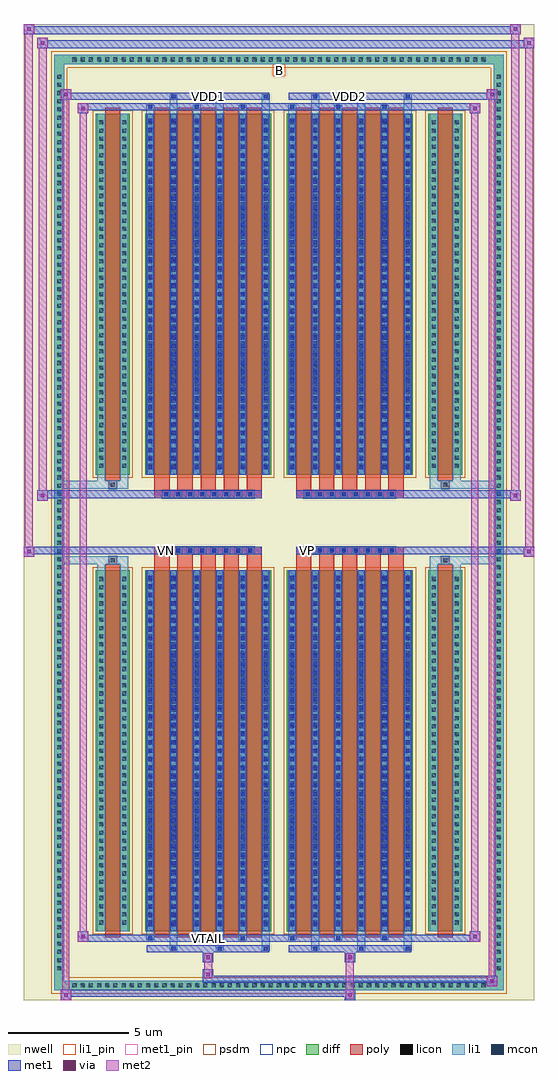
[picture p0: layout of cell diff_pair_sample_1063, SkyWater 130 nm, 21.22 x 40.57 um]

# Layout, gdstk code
import gdstk
lib = gdstk.Library(unit=1e-6, precision=5e-09)
def R(c, l, rs):  # rectangles x0, y0, x1, y1
    for r in rs: c.add(gdstk.rectangle(r[:2], r[2:], *l))
def A(c, l, x, y, w, h, nx, ny, dx, dy):  # array of equal rectangles
    R(c, l, [(x+i*dx, y+j*dy, x+i*dx+w, y+j*dy+h) for i in range(nx) for j in range(ny)])
def P(c, l, *ps):  # polygons
    for p in ps: c.add(gdstk.Polygon(p, *l))
nwell = (64, 20)
diff = (65, 20)
poly = (66, 20)
licon = (66, 44)
li1_pin = (67, 16)
li1 = (67, 20)
mcon = (67, 44)
met1_pin = (68, 16)
met1 = (68, 20)
via = (68, 44)
met2 = (69, 20)
psdm = (94, 20)
npc = (95, 20)

diff_pair_sample_1063 = lib.new_cell('diff_pair_sample_1063')
R(diff_pair_sample_1063, nwell, [(-10.61,-19.85,10.61,20.72), (-7.93,-18.04,-0.01,-0.8), (0.01,-18.04,7.93,-0.8), (-7.93,0.8,-0.01,18.04), (0.01,0.8,7.93,18.04)])
A(diff_pair_sample_1063, diff, -8.705, -19.45, 0.41, 0.41, 51, 2, 0.34, 38.49)
A(diff_pair_sample_1063, diff, -9.34, -18.735, 0.41, 0.41, 1, 110, 0, 0.34)
A(diff_pair_sample_1063, diff, 8.93, -18.735, 0.41, 0.41, 1, 110, 0, 0.34)
R(diff_pair_sample_1063, diff, [(-8.705,-19.45,8.705,-19.04), (-9.34,-18.735,-8.93,18.735), (8.93,-18.735,9.34,18.735), (-7.62,-16.995,-6.21,-1.985), (-5.57,-16.995,-0.32,-1.985), (0.32,-16.995,5.57,-1.985), (6.21,-16.995,7.62,-1.985), (-7.62,1.985,-6.21,16.995), (-5.57,1.985,-0.32,16.995), (0.32,1.985,5.57,16.995), (6.21,1.985,7.62,16.995), (-8.705,19.04,8.705,19.45)])
P(diff_pair_sample_1063, diff, [(9.34,19.45),(-9.34,19.45),(-9.34,-19.04),(-8.93,-19.04),(-8.93,19.04),(8.93,19.04),(8.93,-19.04),(-8.93,-19.04),(-9.34,-19.04),(-9.34,-19.45),(9.34,-19.45)])
A(diff_pair_sample_1063, poly, -5.18, -17.245, 0.63, 15.51, 5, 2, 0.96, 18.98)
A(diff_pair_sample_1063, poly, 0.71, -17.245, 0.63, 15.51, 5, 2, 0.96, 18.98)
A(diff_pair_sample_1063, poly, -5.18, -1.735, 0.63, 0.405, 5, 2, 0.96, 3.065)
A(diff_pair_sample_1063, poly, 0.71, -1.735, 0.63, 0.405, 5, 2, 0.96, 3.065)
A(diff_pair_sample_1063, poly, -4.86, -1.33, 0.33, 0.33, 8, 2, 0.5, 2.33)
A(diff_pair_sample_1063, poly, 1.03, -1.33, 0.33, 0.33, 8, 2, 0.5, 2.33)
R(diff_pair_sample_1063, poly, [(-7.23,-17.245,-6.6,-1.735), (6.6,-17.245,7.23,-1.735), (-7.08,-1.735,-6.75,-1.405), (-7.08,-1.735,-6.75,-1.405), (6.75,-1.735,7.08,-1.405), (6.75,-1.735,7.08,-1.405), (-5.18,-1.33,-0.71,-1), (0.71,-1.33,5.18,-1), (-5.18,1,-0.71,1.33), (0.71,1,5.18,1.33), (-7.08,1.405,-6.75,1.735), (-7.08,1.405,-6.75,1.735), (6.75,1.405,7.08,1.735), (6.75,1.405,7.08,1.735), (-7.23,1.735,-6.6,17.245), (6.6,1.735,7.23,17.245)])
A(diff_pair_sample_1063, licon, -8.585, -19.33, 0.17, 0.17, 51, 2, 0.34, 38.49)
A(diff_pair_sample_1063, licon, -9.22, -18.615, 0.17, 0.17, 1, 110, 0, 0.34)
A(diff_pair_sample_1063, licon, 9.05, -18.615, 0.17, 0.17, 1, 110, 0, 0.34)
A(diff_pair_sample_1063, licon, -7.48, -16.715, 0.17, 0.17, 1, 43, 0, 0.34)
A(diff_pair_sample_1063, licon, -6.52, -16.715, 0.17, 0.17, 1, 43, 0, 0.34)
A(diff_pair_sample_1063, licon, -5.43, -16.715, 0.17, 0.17, 6, 43, 0.96, 0.34)
A(diff_pair_sample_1063, licon, 0.46, -16.715, 0.17, 0.17, 6, 43, 0.96, 0.34)
A(diff_pair_sample_1063, licon, 6.35, -16.715, 0.17, 0.17, 1, 43, 0, 0.34)
A(diff_pair_sample_1063, licon, 7.31, -16.715, 0.17, 0.17, 1, 43, 0, 0.34)
A(diff_pair_sample_1063, licon, -4.78, -1.25, 0.17, 0.17, 8, 2, 0.5, 2.33)
A(diff_pair_sample_1063, licon, 1.11, -1.25, 0.17, 0.17, 8, 2, 0.5, 2.33)
A(diff_pair_sample_1063, licon, -7.48, 2.265, 0.17, 0.17, 1, 43, 0, 0.34)
A(diff_pair_sample_1063, licon, -6.52, 2.265, 0.17, 0.17, 1, 43, 0, 0.34)
A(diff_pair_sample_1063, licon, -5.43, 2.265, 0.17, 0.17, 6, 43, 0.96, 0.34)
A(diff_pair_sample_1063, licon, 0.46, 2.265, 0.17, 0.17, 6, 43, 0.96, 0.34)
A(diff_pair_sample_1063, licon, 6.35, 2.265, 0.17, 0.17, 1, 43, 0, 0.34)
A(diff_pair_sample_1063, licon, 7.31, 2.265, 0.17, 0.17, 1, 43, 0, 0.34)
R(diff_pair_sample_1063, licon, [(-7,-1.655,-6.83,-1.485), (6.83,-1.655,7,-1.485), (-7,1.485,-6.83,1.655), (6.83,1.485,7,1.655)])
R(diff_pair_sample_1063, li1_pin, [(-0.25,18.54,0.25,19.04)])
A(diff_pair_sample_1063, li1, -8.665, -19.41, 0.33, 0.33, 51, 2, 0.34, 38.49)
A(diff_pair_sample_1063, li1, -9.3, -18.695, 0.33, 0.33, 1, 110, 0, 0.34)
A(diff_pair_sample_1063, li1, 8.97, -18.695, 0.33, 0.33, 1, 110, 0, 0.34)
A(diff_pair_sample_1063, li1, -4.55, -17.8, 0.33, 0.805, 3, 2, 1.92, 34.795)
A(diff_pair_sample_1063, li1, -4.47, -17.8, 0.17, 0.17, 3, 2, 1.92, 35.43)
A(diff_pair_sample_1063, li1, 1.34, -17.8, 0.33, 0.805, 3, 2, 1.92, 34.795)
A(diff_pair_sample_1063, li1, 1.42, -17.8, 0.17, 0.17, 3, 2, 1.92, 35.43)
A(diff_pair_sample_1063, li1, -5.51, -17.37, 0.33, 0.375, 3, 2, 1.92, 34.365)
A(diff_pair_sample_1063, li1, -5.43, -17.37, 0.17, 0.17, 3, 2, 1.92, 34.57)
A(diff_pair_sample_1063, li1, 0.38, -17.37, 0.33, 0.375, 3, 2, 1.92, 34.365)
A(diff_pair_sample_1063, li1, 0.46, -17.37, 0.17, 0.17, 3, 2, 1.92, 34.57)
A(diff_pair_sample_1063, li1, -5.51, -16.995, 0.33, 15.01, 6, 2, 0.96, 18.98)
A(diff_pair_sample_1063, li1, 0.38, -16.995, 0.33, 15.01, 6, 2, 0.96, 18.98)
A(diff_pair_sample_1063, li1, -7.56, -16.795, 0.33, 0.33, 1, 43, 0, 0.34)
A(diff_pair_sample_1063, li1, -6.6, -16.795, 0.33, 0.33, 1, 43, 0, 0.34)
A(diff_pair_sample_1063, li1, -5.51, -16.795, 0.33, 0.33, 6, 43, 0.96, 0.34)
A(diff_pair_sample_1063, li1, 0.38, -16.795, 0.33, 0.33, 6, 43, 0.96, 0.34)
A(diff_pair_sample_1063, li1, 6.27, -16.795, 0.33, 0.33, 1, 43, 0, 0.34)
A(diff_pair_sample_1063, li1, 7.23, -16.795, 0.33, 0.33, 1, 43, 0, 0.34)
A(diff_pair_sample_1063, li1, -5.43, -16.775, 0.17, 0.17, 6, 41, 0.96, 0.36)
A(diff_pair_sample_1063, li1, -5.43, -16.775, 0.17, 14.57, 6, 2, 0.96, 18.98)
A(diff_pair_sample_1063, li1, 0.46, -16.775, 0.17, 0.17, 6, 41, 0.96, 0.36)
A(diff_pair_sample_1063, li1, 0.46, -16.775, 0.17, 14.57, 6, 2, 0.96, 18.98)
A(diff_pair_sample_1063, li1, -4.86, -1.33, 0.33, 0.33, 8, 2, 0.5, 2.33)
A(diff_pair_sample_1063, li1, 1.03, -1.33, 0.33, 0.33, 8, 2, 0.5, 2.33)
A(diff_pair_sample_1063, li1, -7.56, 2.185, 0.33, 0.33, 1, 43, 0, 0.34)
A(diff_pair_sample_1063, li1, -6.6, 2.185, 0.33, 0.33, 1, 43, 0, 0.34)
A(diff_pair_sample_1063, li1, -5.51, 2.185, 0.33, 0.33, 6, 43, 0.96, 0.34)
A(diff_pair_sample_1063, li1, 0.38, 2.185, 0.33, 0.33, 6, 43, 0.96, 0.34)
A(diff_pair_sample_1063, li1, 6.27, 2.185, 0.33, 0.33, 1, 43, 0, 0.34)
A(diff_pair_sample_1063, li1, 7.23, 2.185, 0.33, 0.33, 1, 43, 0, 0.34)
A(diff_pair_sample_1063, li1, -5.43, 2.205, 0.17, 0.17, 6, 41, 0.96, 0.36)
A(diff_pair_sample_1063, li1, 0.46, 2.205, 0.17, 0.17, 6, 41, 0.96, 0.36)
R(diff_pair_sample_1063, li1, [(-9.34,-19.45,-8.93,-19.04), (-9.34,-19.45,-8.93,-19.04), (-8.93,-19.45,8.93,-19.04), (8.93,-19.45,9.34,-19.04), (8.93,-19.45,9.34,-19.04), (-9.34,-19.04,-8.93,19.04), (8.93,-19.04,9.34,19.04), (-7.56,-16.995,-7.23,-1.985), (-6.6,-16.995,-6.27,-1.985), (6.27,-16.995,6.6,-1.985), (7.23,-16.995,7.56,-1.985), (-7.56,-1.985,-7.23,-1.405), (-6.6,-1.985,-6.27,-1.405), (6.27,-1.985,6.6,-1.405), (7.23,-1.985,7.56,-1.405), (-9.34,-1.735,-7.08,-1.405), (-7.56,-1.735,-7.08,-1.405), (-7.08,-1.735,-6.75,-1.405), (-6.75,-1.735,-6.27,-1.405), (6.27,-1.735,6.75,-1.405), (6.75,-1.735,7.08,-1.405), (6.75,-1.735,9.34,-1.405), (7.08,-1.735,7.56,-1.405), (-9.34,1.405,-7.08,1.735), (-7.56,1.405,-7.08,1.735), (-7.56,1.405,-7.23,1.985), (-7.08,1.405,-6.75,1.735), (-6.75,1.405,-6.27,1.735), (-6.6,1.405,-6.27,1.985), (6.27,1.405,6.75,1.735), (6.27,1.405,6.6,1.985), (6.75,1.405,7.08,1.735), (6.75,1.405,9.34,1.735), (7.08,1.405,7.56,1.735), (7.23,1.405,7.56,1.985), (-7.56,1.985,-7.23,16.995), (-6.6,1.985,-6.27,16.995), (6.27,1.985,6.6,16.995), (7.23,1.985,7.56,16.995), (-9.34,19.04,-8.93,19.45), (-9.34,19.04,-8.93,19.45), (-8.93,19.04,8.93,19.45), (8.93,19.04,9.34,19.45), (8.93,19.04,9.34,19.45)])
A(diff_pair_sample_1063, mcon, -4.47, -17.8, 0.17, 0.17, 3, 2, 1.92, 35.43)
A(diff_pair_sample_1063, mcon, 1.42, -17.8, 0.17, 0.17, 3, 2, 1.92, 35.43)
A(diff_pair_sample_1063, mcon, -5.43, -17.37, 0.17, 0.17, 3, 2, 1.92, 34.57)
A(diff_pair_sample_1063, mcon, 0.46, -17.37, 0.17, 0.17, 3, 2, 1.92, 34.57)
A(diff_pair_sample_1063, mcon, -5.43, -16.775, 0.17, 0.17, 6, 41, 0.96, 0.36)
A(diff_pair_sample_1063, mcon, 0.46, -16.775, 0.17, 0.17, 6, 41, 0.96, 0.36)
A(diff_pair_sample_1063, mcon, -4.78, -1.25, 0.17, 0.17, 8, 2, 0.5, 2.33)
A(diff_pair_sample_1063, mcon, 1.11, -1.25, 0.17, 0.17, 8, 2, 0.5, 2.33)
A(diff_pair_sample_1063, mcon, -5.43, 2.205, 0.17, 0.17, 6, 41, 0.96, 0.36)
A(diff_pair_sample_1063, mcon, 0.46, 2.205, 0.17, 0.17, 6, 41, 0.96, 0.36)
R(diff_pair_sample_1063, met1_pin, [(-3.08,-17.41,-2.81,-17.14), (-4.83,-1.29,-4.56,-1.02), (1.06,-1.29,1.33,-1.02), (-3.08,17.59,-2.81,17.86), (2.81,17.59,3.08,17.86)])
A(diff_pair_sample_1063, met1, -4.53, -17.86, 0.29, 0.29, 3, 2, 1.92, 35.43)
A(diff_pair_sample_1063, met1, 1.36, -17.86, 0.29, 0.29, 3, 2, 1.92, 35.43)
A(diff_pair_sample_1063, met1, -5.49, -17.43, 0.29, 0.29, 3, 2, 1.92, 34.57)
A(diff_pair_sample_1063, met1, 0.4, -17.43, 0.29, 0.29, 3, 2, 1.92, 34.57)
A(diff_pair_sample_1063, met1, -5.49, -16.995, 0.29, 15.01, 6, 2, 0.96, 18.98)
A(diff_pair_sample_1063, met1, 0.4, -16.995, 0.29, 15.01, 6, 2, 0.96, 18.98)
A(diff_pair_sample_1063, met1, -5.49, -16.835, 0.29, 0.29, 6, 41, 0.96, 0.36)
A(diff_pair_sample_1063, met1, 0.4, -16.835, 0.29, 0.29, 6, 41, 0.96, 0.36)
A(diff_pair_sample_1063, met1, -4.84, -1.31, 0.29, 0.29, 8, 2, 0.5, 2.33)
A(diff_pair_sample_1063, met1, 1.05, -1.31, 0.29, 0.29, 8, 2, 0.5, 2.33)
A(diff_pair_sample_1063, met1, -5.49, 2.145, 0.29, 0.29, 6, 41, 0.96, 0.36)
A(diff_pair_sample_1063, met1, 0.4, 2.145, 0.29, 0.29, 6, 41, 0.96, 0.36)
R(diff_pair_sample_1063, met1, [(-9.07,-19.85,-8.64,-19.42), (2.73,-19.85,3.16,-19.42), (-9.07,-19.71,3.16,-19.42), (8.64,-19.28,9.07,-18.85), (-3.16,-19.14,9.07,-18.85), (-3.16,-19,-2.73,-18.57), (-3.16,-18.29,-2.73,-17.86), (2.73,-18.29,3.16,-17.86), (-5.49,-17.86,-0.4,-17.57), (0.4,-17.86,5.49,-17.57), (-8.36,-17.43,-7.93,-17), (-8.36,-17.43,-5.49,-17.14), (-5.49,-17.43,-0.4,-17.14), (-0.4,-17.43,0.4,-17.14), (0.4,-17.43,5.49,-17.14), (5.49,-17.43,8.36,-17.14), (7.93,-17.43,8.36,-17), (-10.61,-1.43,-10.18,-1), (10.18,-1.43,10.61,-1), (-10.61,-1.33,-0.71,-1), (-5.18,-1.33,-0.71,-1), (0.71,-1.33,5.18,-1), (0.71,-1.33,10.61,-1), (-10.04,0.9,-9.61,1.33), (9.61,0.9,10.04,1.33), (-10.04,1,-5.18,1.33), (-5.18,1,-0.71,1.33), (0.71,1,5.18,1.33), (5.18,1,10.04,1.33), (-8.36,17,-7.93,17.43), (7.93,17,8.36,17.43), (-8.36,17.14,-5.49,17.43), (-5.49,17.14,-0.4,17.43), (-0.4,17.14,0.4,17.43), (0.4,17.14,5.49,17.43), (5.49,17.14,8.36,17.43), (-9.07,17.57,-8.64,18), (-9.07,17.57,-5.49,17.86), (-5.49,17.57,-0.4,17.86), (0.4,17.57,5.49,17.86), (5.49,17.57,9.07,17.86), (8.64,17.57,9.07,18), (-10.04,19.72,-9.61,20.15), (-10.04,19.72,-7.93,20.05), (-7.93,19.72,7.93,20.05), (7.93,19.72,10.61,20.05), (10.18,19.72,10.61,20.15), (-10.61,20.29,-10.18,20.72), (-10.61,20.29,-7.93,20.62), (-7.93,20.29,7.93,20.62), (7.93,20.29,10.04,20.62), (9.61,20.29,10.04,20.72)])
R(diff_pair_sample_1063, via, [(-8.93,-19.71,-8.78,-19.56), (2.87,-19.71,3.02,-19.56), (8.78,-19.14,8.93,-18.99), (-3.02,-18.86,-2.87,-18.71), (-3.02,-18.15,-2.87,-18), (2.87,-18.15,3.02,-18), (-8.22,-17.29,-8.07,-17.14), (8.07,-17.29,8.22,-17.14), (-10.47,-1.29,-10.32,-1.14), (10.32,-1.29,10.47,-1.14), (-9.9,1.04,-9.75,1.19), (9.75,1.04,9.9,1.19), (-8.22,17.14,-8.07,17.29), (8.07,17.14,8.22,17.29), (-8.93,17.71,-8.78,17.86), (8.78,17.71,8.93,17.86), (-9.9,19.86,-9.75,20.01), (10.32,19.86,10.47,20.01), (-10.47,20.43,-10.32,20.58), (9.75,20.43,9.9,20.58)])
R(diff_pair_sample_1063, met2, [(-9.07,-19.85,-8.64,-19.42), (-9,-19.85,-8.71,18), (-8.71,-19.85,-8.64,-19.42), (-9.02,-19.8,-8.69,-19.47), (2.78,-19.8,3.11,-19.47), (2.78,-19.47,3.11,-18.24), (8.64,-19.28,9.07,-18.85), (8.71,-19.28,9,18), (9,-19.28,9.07,-18.85), (8.69,-19.23,9.02,-18.9), (-3.11,-18.95,-2.78,-18.62), (-3.11,-18.62,-2.78,-18.24), (-3.11,-18.24,-2.78,-17.91), (2.78,-18.24,3.11,-17.91), (-8.36,-17.43,-7.93,-17), (-8.29,-17.43,-8,17.43), (-8,-17.43,-7.93,-17), (7.93,-17.43,8.36,-17), (8,-17.43,8.29,17.43), (8.29,-17.43,8.36,-17), (-8.31,-17.38,-7.98,-17.05), (7.98,-17.38,8.31,-17.05), (-10.61,-1.43,-10.18,-1), (-10.56,-1.43,-10.23,20.72), (-10.23,-1.43,-10.18,-1), (10.18,-1.43,10.61,-1), (10.23,-1.43,10.56,20.15), (10.56,-1.43,10.61,-1), (-10.56,-1.38,-10.23,-1.05), (10.23,-1.38,10.56,-1.05), (-10.04,0.9,-9.61,1.33), (-9.99,0.9,-9.66,20.15), (-9.66,0.9,-9.61,1.33), (9.61,0.9,10.04,1.33), (9.66,0.9,9.99,20.72), (9.99,0.9,10.04,1.33), (-9.99,0.95,-9.66,1.28), (9.66,0.95,9.99,1.28), (-8.36,17,-7.93,17.43), (-8,17,-7.93,17.43), (7.93,17,8.36,17.43), (8.29,17,8.36,17.43), (-8.31,17.05,-7.98,17.38), (7.98,17.05,8.31,17.38), (-9.07,17.57,-8.64,18), (-8.71,17.57,-8.64,18), (8.64,17.57,9.07,18), (9,17.57,9.07,18), (-9.02,17.62,-8.69,17.95), (8.69,17.62,9.02,17.95), (-10.04,19.72,-9.61,20.15), (-9.66,19.72,-9.61,20.15), (10.18,19.72,10.61,20.15), (10.56,19.72,10.61,20.15), (-9.99,19.77,-9.66,20.1), (10.23,19.77,10.56,20.1), (-10.61,20.29,-10.18,20.72), (-10.23,20.29,-10.18,20.72), (9.61,20.29,10.04,20.72), (9.99,20.29,10.04,20.72), (-10.56,20.34,-10.23,20.67), (9.66,20.34,9.99,20.67)])
R(diff_pair_sample_1063, psdm, [(-7.75,-17.125,-6.08,-1.855), (-5.7,-17.125,-0.19,-1.855), (0.19,-17.125,5.7,-1.855), (6.08,-17.125,7.75,-1.855), (-7.75,1.855,-6.08,17.125), (-5.7,1.855,-0.19,17.125), (0.19,1.855,5.7,17.125), (6.08,1.855,7.75,17.125)])
P(diff_pair_sample_1063, psdm, [(9.47,19.58),(-9.47,19.58),(-9.47,-18.91),(-8.8,-18.91),(-8.8,18.91),(8.8,18.91),(8.8,-18.91),(-8.8,-18.91),(-9.47,-18.91),(-9.47,-19.58),(9.47,-19.58)])
A(diff_pair_sample_1063, npc, -4.88, -1.35, 0.37, 0.37, 8, 2, 0.5, 2.33)
A(diff_pair_sample_1063, npc, 1.01, -1.35, 0.37, 0.37, 8, 2, 0.5, 2.33)
R(diff_pair_sample_1063, npc, [(-7.1,-1.755,-6.73,-1.385), (6.73,-1.755,7.1,-1.385), (-4.88,-1.35,-4.01,-0.98), (-4.88,-1.35,-4.01,-0.98), (-4.38,-1.35,-3.51,-0.98), (-4.38,-1.35,-3.51,-0.98), (-3.88,-1.35,-3.01,-0.98), (-3.88,-1.35,-3.01,-0.98), (-3.38,-1.35,-2.51,-0.98), (-3.38,-1.35,-2.51,-0.98), (-2.88,-1.35,-2.01,-0.98), (-2.88,-1.35,-2.01,-0.98), (-2.38,-1.35,-1.51,-0.98), (-2.38,-1.35,-1.51,-0.98), (-1.88,-1.35,-1.01,-0.98), (-1.88,-1.35,-1.01,-0.98), (1.01,-1.35,1.88,-0.98), (1.01,-1.35,1.88,-0.98), (1.51,-1.35,2.38,-0.98), (1.51,-1.35,2.38,-0.98), (2.01,-1.35,2.88,-0.98), (2.01,-1.35,2.88,-0.98), (2.51,-1.35,3.38,-0.98), (2.51,-1.35,3.38,-0.98), (3.01,-1.35,3.88,-0.98), (3.01,-1.35,3.88,-0.98), (3.51,-1.35,4.38,-0.98), (3.51,-1.35,4.38,-0.98), (4.01,-1.35,4.88,-0.98), (4.01,-1.35,4.88,-0.98), (-4.88,0.98,-4.01,1.35), (-4.88,0.98,-4.01,1.35), (-4.38,0.98,-3.51,1.35), (-4.38,0.98,-3.51,1.35), (-3.88,0.98,-3.01,1.35), (-3.88,0.98,-3.01,1.35), (-3.38,0.98,-2.51,1.35), (-3.38,0.98,-2.51,1.35), (-2.88,0.98,-2.01,1.35), (-2.88,0.98,-2.01,1.35), (-2.38,0.98,-1.51,1.35), (-2.38,0.98,-1.51,1.35), (-1.88,0.98,-1.01,1.35), (-1.88,0.98,-1.01,1.35), (1.01,0.98,1.88,1.35), (1.01,0.98,1.88,1.35), (1.51,0.98,2.38,1.35), (1.51,0.98,2.38,1.35), (2.01,0.98,2.88,1.35), (2.01,0.98,2.88,1.35), (2.51,0.98,3.38,1.35), (2.51,0.98,3.38,1.35), (3.01,0.98,3.88,1.35), (3.01,0.98,3.88,1.35), (3.51,0.98,4.38,1.35), (3.51,0.98,4.38,1.35), (4.01,0.98,4.88,1.35), (4.01,0.98,4.88,1.35), (-7.1,1.385,-6.73,1.755), (6.73,1.385,7.1,1.755)])
diff_pair_sample_1063.add(gdstk.Label('VTAIL', (-2.945,-17.275), layer=68, texttype=5))
diff_pair_sample_1063.add(gdstk.Label('VN', (-4.695,-1.155), layer=68, texttype=5))
diff_pair_sample_1063.add(gdstk.Label('VP', (1.195,-1.155), layer=68, texttype=5))
diff_pair_sample_1063.add(gdstk.Label('B', (0,18.79), layer=67, texttype=5))
diff_pair_sample_1063.add(gdstk.Label('VDD2', (2.945,17.725), layer=68, texttype=5))
diff_pair_sample_1063.add(gdstk.Label('VDD1', (-2.945,17.725), layer=68, texttype=5))

lib.write_gds('diff_pair_sample_1063.gds')
